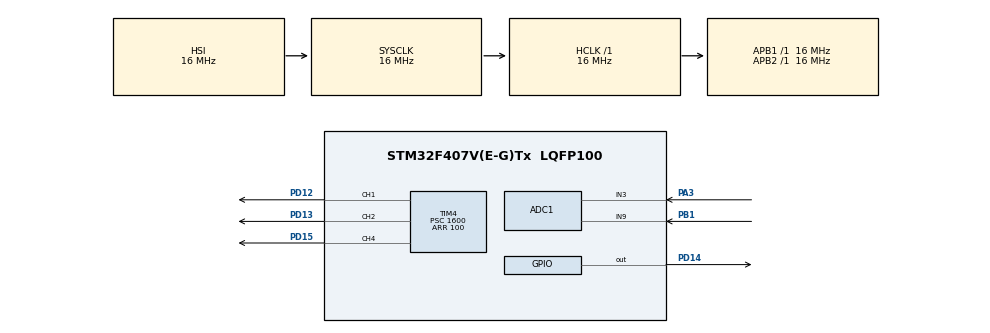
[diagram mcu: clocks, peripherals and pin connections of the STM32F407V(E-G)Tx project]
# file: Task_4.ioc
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ADC1.Channel-0\#ChannelRegularConversion=ADC_CHANNEL_3
ADC1.Channel-1\#ChannelRegularConversion=ADC_CHANNEL_9
ADC1.Channel-2\#ChannelRegularConversion=ADC_CHANNEL_TEMPSENSOR
ADC1.ContinuousConvMode=DISABLE
ADC1.DMAContinuousRequests=ENABLE
ADC1.ExternalTrigConv=ADC_EXTERNALTRIGCONV_T8_TRGO
ADC1.NbrOfConversion=3
ADC1.NbrOfConversionFlag=1
ADC1.Rank-0\#ChannelRegularConversion=1
ADC1.Rank-1\#ChannelRegularConversion=2
ADC1.Rank-2\#ChannelRegularConversion=3
ADC1.SamplingTime-0\#ChannelRegularConversion=ADC_SAMPLETIME_480CYCLES
ADC1.SamplingTime-1\#ChannelRegularConversion=ADC_SAMPLETIME_480CYCLES
ADC1.SamplingTime-2\#ChannelRegularConversion=ADC_SAMPLETIME_480CYCLES
ADC1.master=1
Dma.ADC1.0.Direction=DMA_PERIPH_TO_MEMORY
Dma.ADC1.0.FIFOMode=DMA_FIFOMODE_DISABLE
Dma.ADC1.0.Instance=DMA2_Stream0
Dma.ADC1.0.MemDataAlignment=DMA_MDATAALIGN_HALFWORD
Dma.ADC1.0.MemInc=DMA_MINC_ENABLE
Dma.ADC1.0.Mode=DMA_CIRCULAR
Dma.ADC1.0.PeriphDataAlignment=DMA_PDATAALIGN_HALFWORD
Dma.ADC1.0.PeriphInc=DMA_PINC_DISABLE
Dma.ADC1.0.Priority=DMA_PRIORITY_LOW
Dma.Request0=ADC1
Mcu.Family=STM32F4
Mcu.Name=STM32F407V(E-G)Tx
Mcu.Package=LQFP100
NVIC.DMA2_Stream0_IRQn=true\:0\:0\:false\:false\:true\:false\:true
NVIC.PriorityGroup=NVIC_PRIORITYGROUP_4
NVIC.TIM8_TRG_COM_TIM14_IRQn=true\:0\:0\:false\:false\:true\:true\:true
PA3.Signal=ADCx_IN3
PB1.Signal=ADCx_IN9
PD12.Signal=S_TIM4_CH1
PD13.Signal=S_TIM4_CH2
PD14.Signal=GPIO_Output
PD15.Signal=S_TIM4_CH4
PH0-OSC_IN.Mode=HSE-External-Oscillator
PH0-OSC_IN.Signal=RCC_OSC_IN
PH1-OSC_OUT.Mode=HSE-External-Oscillator
PH1-OSC_OUT.Signal=RCC_OSC_OUT
ProjectManager.HeapSize=0x200
ProjectManager.StackSize=0x400
ProjectManager.TargetToolchain=STM32CubeIDE
RCC.AHBFreq_Value=16000000
RCC.APB1Freq_Value=16000000
RCC.APB2Freq_Value=16000000
RCC.CortexFreq_Value=16000000
RCC.HSE_VALUE=25000000
RCC.HSI_VALUE=16000000
RCC.LSE_VALUE=32768
RCC.SYSCLKFreq_VALUE=16000000
RCC.VCOOutputFreq_Value=192000000
SH.ADCx_IN3.0=ADC1_IN3,IN3
SH.ADCx_IN9.0=ADC1_IN9,IN9
SH.S_TIM4_CH1.0=TIM4_CH1,PWM Generation1 CH1
SH.S_TIM4_CH2.0=TIM4_CH2,PWM Generation2 CH2
SH.S_TIM4_CH4.0=TIM4_CH4,PWM Generation4 CH4
TIM14.AutoReloadPreload=TIM_AUTORELOAD_PRELOAD_ENABLE
TIM14.Period=1000
TIM14.Prescaler=16000
TIM4.AutoReloadPreload=TIM_AUTORELOAD_PRELOAD_ENABLE
TIM4.Channel-PWM\ Generation1\ CH1=TIM_CHANNEL_1
TIM4.Channel-PWM\ Generation2\ CH2=TIM_CHANNEL_2
TIM4.Channel-PWM\ Generation4\ CH4=TIM_CHANNEL_4
TIM4.Period=100
TIM4.Prescaler=1600
TIM8.Period=1000
TIM8.Prescaler=160
TIM8.TIM_MasterOutputTrigger=TIM_TRGO_UPDATE
VP_ADC1_TempSens_Input.Mode=IN-TempSens
VP_TIM14_VS_ClockSourceINT.Mode=Enable_Timer
VP_TIM4_VS_ClockSourceINT.Mode=Internal
VP_TIM8_VS_ClockSourceINT.Mode=Internal
board=custom

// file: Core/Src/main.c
/* USER CODE BEGIN Header */
/**
  ******************************************************************************
  * @file           : main.c
  * @brief          : Main program body
  ******************************************************************************
  * @attention
  *
  * <h2><center>&copy; Copyright (c) 2021 STMicroelectronics.
  * All rights reserved.</center></h2>
  *
  * This software component is licensed by ST under BSD 3-Clause license,
  * the "License"; You may not use this file except in compliance with the
  * License. You may obtain a copy of the License at:
  *                        opensource.org/licenses/BSD-3-Clause
  *
  ******************************************************************************
  */
/* USER CODE END Header */
#include "main.h"

/* USER CODE BEGIN PTD */
typedef enum warningState
{
	FADE_OUT = 0,
	ROUND_HOUSE ,
	FAST_PACE,
	COCKED_PISTOL

} warningState;

/* USER CODE END PTD */

/* USER CODE BEGIN PD */

#define BRD_VOLTAGE 3000 // 3000mV
#define ADC_AVERAGE 16
#define ADC_BUF_SIZE 32
#define NUMBER_OF_CHANNELS 3 // internal sensor, external sensor, potentiometer

#define POTENTIOMETER_MIN_VALUE 0
#define POTENTIOMETER_MAX_VALUE 3000 // 3000mV
#define TEMPERATURE_MIN_VALUE 220 // 22.0C
#define TEMPERATURE_MAX_VALUE 500 // 50.0C

#define POTENTIOMETER_LIMIT 2000 // 2000mW
#define TEMPERATURE_LIMIT 366 // 36.6C

#define PROPORTIONAL_PWM_PERIOD(a,b,c) ((((a) - (b))*100) / ((c) - (b)))
#define PWM_LIMIT(a) (((a) < (0) ? (0) : ((a) > (100) ? (100) : (a))))

/* USER CODE END PD */

ADC_HandleTypeDef hadc1;
DMA_HandleTypeDef hdma_adc1;

TIM_HandleTypeDef htim4;
TIM_HandleTypeDef htim8;
TIM_HandleTypeDef htim14;

/* USER CODE BEGIN PV */

uint8_t potAlarmFlag = 0;
uint8_t extSensorAlarmFlag = 0;
uint8_t intSensorAlarmFlag = 0;
uint32_t sensValues[ADC_BUF_SIZE][NUMBER_OF_CHANNELS]; // adc measurements
int32_t potentiometerVolt = 0;  // final potentiometer voltage
int32_t externalSensorTemp = 0; // final external sensor voltage
int32_t internalSensorTemp = 0; // final internal sensor voltage

/* USER CODE END PV */

void SystemClock_Config(void);
static void MX_GPIO_Init(void);
static void MX_DMA_Init(void);
static void MX_ADC1_Init(void);
static void MX_TIM8_Init(void);
static void MX_TIM4_Init(void);
static void MX_TIM14_Init(void);
/* USER CODE BEGIN PFP */
static void AlarmLedStateUpdate(warningState state);
static void chkWrnLimits(void);
static void LedIntensityUpdate(void);

/* USER CODE END PFP */

/* USER CODE BEGIN 0 */

void HAL_TIM_PeriodElapsedCallback(TIM_HandleTypeDef *htim)
{
	if (htim == &htim14)
	{
		warningState state = potAlarmFlag + extSensorAlarmFlag + intSensorAlarmFlag;

		if (state == ROUND_HOUSE)
			TIM14->ARR = 500;
		else if (state == FAST_PACE)
			TIM14->ARR = 200;
		else if (state == COCKED_PISTOL)
			TIM14->ARR = 100;

		AlarmLedStateUpdate(state); // turn on led blink to alarm about count of warnings
	}
}

void HAL_ADC_ConvCpltCallback(ADC_HandleTypeDef* hadc)
{

	uint16_t *sensBuffer = (uint16_t*)sensValues;
	int32_t averagedVoltages[NUMBER_OF_CHANNELS] ;

	for (uint8_t i = 0; i < sizeof(averagedVoltages)/sizeof(averagedVoltages[0]); i++)
	{
		averagedVoltages[i] = 0;
	}

	for (uint8_t i = 0; i < ADC_AVERAGE; i++)
	{
		for (uint8_t j = 0; j < NUMBER_OF_CHANNELS; j++){
			averagedVoltages[j] += *sensBuffer++;
		}
	}

	for (int i = 0; i < NUMBER_OF_CHANNELS; i++)
	{
		 averagedVoltages[i] = (averagedVoltages[i] * BRD_VOLTAGE / ADC_AVERAGE) / 4096;
	}

	potentiometerVolt  =  averagedVoltages[0];
	externalSensorTemp = (-averagedVoltages[1] * 100) / 200 + 990 ;
	internalSensorTemp = ((averagedVoltages[2] - 760) * 100  / 25) + 250;

	chkWrnLimits(); // count number of warnings
	LedIntensityUpdate(); // set PWM period on each LED

}

void chkWrnLimits(void)
{

	if(potentiometerVolt > POTENTIOMETER_LIMIT)
		potAlarmFlag = ROUND_HOUSE;
	else
		potAlarmFlag = FADE_OUT;
	if(externalSensorTemp > TEMPERATURE_LIMIT)
		extSensorAlarmFlag = ROUND_HOUSE;
	else
		extSensorAlarmFlag = FADE_OUT;
	if(internalSensorTemp > TEMPERATURE_LIMIT)
		intSensorAlarmFlag = ROUND_HOUSE;
	else
		intSensorAlarmFlag =FADE_OUT;
	return;

}

void LedIntensityUpdate(void)
{
	int32_t pulseLength;

	pulseLength = PROPORTIONAL_PWM_PERIOD(potentiometerVolt, POTENTIOMETER_MIN_VALUE, POTENTIOMETER_MAX_VALUE);
	TIM4->CCR4 = PWM_LIMIT(pulseLength);

	pulseLength = PROPORTIONAL_PWM_PERIOD(externalSensorTemp, TEMPERATURE_MIN_VALUE, TEMPERATURE_MAX_VALUE);
	TIM4->CCR1 = PWM_LIMIT(pulseLength);

	pulseLength = PROPORTIONAL_PWM_PERIOD(internalSensorTemp, TEMPERATURE_MIN_VALUE, TEMPERATURE_MAX_VALUE);
	TIM4->CCR2 = PWM_LIMIT(pulseLength);
	return;

}

void AlarmLedStateUpdate(warningState state)
{
	if(state == FADE_OUT)
	{
		HAL_GPIO_WritePin(GPIOD, GPIO_PIN_14, GPIO_PIN_RESET);
	}

	else if(state == ROUND_HOUSE)
	{
		HAL_GPIO_TogglePin(GPIOD, GPIO_PIN_14);
	}

	else if (state == FAST_PACE)
	{
		HAL_GPIO_TogglePin(GPIOD, GPIO_PIN_14);

	}
	else if (state == COCKED_PISTOL)
	{
		HAL_GPIO_TogglePin(GPIOD, GPIO_PIN_14);

	}
}
/* USER CODE END 0 */

int main(void)
{

  /* MCU Configuration--------------------------------------------------------*/

  /* Reset of all peripherals, Initializes the Flash interface and the Systick. */
  HAL_Init();

  /* Configure the system clock */
  SystemClock_Config();

  /* Initialize all configured peripherals */
  MX_GPIO_Init();
  MX_DMA_Init();
  MX_ADC1_Init();
  MX_TIM8_Init();
  MX_TIM4_Init();
  MX_TIM14_Init();
  /* USER CODE BEGIN 2 */
  HAL_ADC_Start_DMA(&hadc1, *sensValues, NUMBER_OF_CHANNELS*ADC_BUF_SIZE);
  HAL_TIM_PWM_Start(&htim4, TIM_CHANNEL_1);
  HAL_TIM_PWM_Start(&htim4, TIM_CHANNEL_2);
  HAL_TIM_PWM_Start(&htim4, TIM_CHANNEL_4);
  HAL_TIM_Base_Start(&htim8);
  HAL_TIM_Base_Start_IT(&htim14);

  /* USER CODE END 2 */

  /* Infinite loop */
  while (1)
  {

  }
}

void SystemClock_Config(void)
{
  RCC_OscInitTypeDef RCC_OscInitStruct = {0};
  RCC_ClkInitTypeDef RCC_ClkInitStruct = {0};

  /** Configure the main internal regulator output voltage
  */
  __HAL_RCC_PWR_CLK_ENABLE();
  __HAL_PWR_VOLTAGESCALING_CONFIG(PWR_REGULATOR_VOLTAGE_SCALE1);
  /** Initializes the RCC Oscillators according to the specified parameters
  * in the RCC_OscInitTypeDef structure.
  */
  RCC_OscInitStruct.OscillatorType = RCC_OSCILLATORTYPE_HSI;
  RCC_OscInitStruct.HSIState = RCC_HSI_ON;
  RCC_OscInitStruct.HSICalibrationValue = RCC_HSICALIBRATION_DEFAULT;
  RCC_OscInitStruct.PLL.PLLState = RCC_PLL_NONE;
  if (HAL_RCC_OscConfig(&RCC_OscInitStruct) != HAL_OK)
  {
    Error_Handler();
  }
  /** Initializes the CPU, AHB and APB buses clocks
  */
  RCC_ClkInitStruct.ClockType = RCC_CLOCKTYPE_HCLK|RCC_CLOCKTYPE_SYSCLK
                              |RCC_CLOCKTYPE_PCLK1|RCC_CLOCKTYPE_PCLK2;
  RCC_ClkInitStruct.SYSCLKSource = RCC_SYSCLKSOURCE_HSI;
  RCC_ClkInitStruct.AHBCLKDivider = RCC_SYSCLK_DIV1;
  RCC_ClkInitStruct.APB1CLKDivider = RCC_HCLK_DIV1;
  RCC_ClkInitStruct.APB2CLKDivider = RCC_HCLK_DIV1;

  if (HAL_RCC_ClockConfig(&RCC_ClkInitStruct, FLASH_LATENCY_0) != HAL_OK)
  {
    Error_Handler();
  }
}

static void MX_ADC1_Init(void)
{

  ADC_ChannelConfTypeDef sConfig = {0};

  /** Configure the global features of the ADC (Clock, Resolution, Data Alignment and number of conversion)
  */
  hadc1.Instance = ADC1;
  hadc1.Init.ClockPrescaler = ADC_CLOCK_SYNC_PCLK_DIV2;
  hadc1.Init.Resolution = ADC_RESOLUTION_12B;
  hadc1.Init.ScanConvMode = ENABLE;
  hadc1.Init.ContinuousConvMode = DISABLE;
  hadc1.Init.DiscontinuousConvMode = DISABLE;
  hadc1.Init.ExternalTrigConvEdge = ADC_EXTERNALTRIGCONVEDGE_RISING;
  hadc1.Init.ExternalTrigConv = ADC_EXTERNALTRIGCONV_T8_TRGO;
  hadc1.Init.DataAlign = ADC_DATAALIGN_RIGHT;
  hadc1.Init.NbrOfConversion = 3;
  hadc1.Init.DMAContinuousRequests = ENABLE;
  hadc1.Init.EOCSelection = ADC_EOC_SINGLE_CONV;
  if (HAL_ADC_Init(&hadc1) != HAL_OK)
  {
    Error_Handler();
  }
  /** Configure for the selected ADC regular channel its corresponding rank in the sequencer and its sample time.
  */
  sConfig.Channel = ADC_CHANNEL_3;
  sConfig.Rank = 1;
  sConfig.SamplingTime = ADC_SAMPLETIME_480CYCLES;
  if (HAL_ADC_ConfigChannel(&hadc1, &sConfig) != HAL_OK)
  {
    Error_Handler();
  }
  /** Configure for the selected ADC regular channel its corresponding rank in the sequencer and its sample time.
  */
  sConfig.Channel = ADC_CHANNEL_9;
  sConfig.Rank = 2;
  if (HAL_ADC_ConfigChannel(&hadc1, &sConfig) != HAL_OK)
  {
    Error_Handler();
  }
  /** Configure for the selected ADC regular channel its corresponding rank in the sequencer and its sample time.
  */
  sConfig.Channel = ADC_CHANNEL_TEMPSENSOR;
  sConfig.Rank = 3;
  if (HAL_ADC_ConfigChannel(&hadc1, &sConfig) != HAL_OK)
  {
    Error_Handler();
  }

}

static void MX_TIM4_Init(void)
{

  TIM_ClockConfigTypeDef sClockSourceConfig = {0};
  TIM_MasterConfigTypeDef sMasterConfig = {0};
  TIM_OC_InitTypeDef sConfigOC = {0};

  htim4.Instance = TIM4;
  htim4.Init.Prescaler = 1600;
  htim4.Init.CounterMode = TIM_COUNTERMODE_UP;
  htim4.Init.Period = 100;
  htim4.Init.ClockDivision = TIM_CLOCKDIVISION_DIV1;
  htim4.Init.AutoReloadPreload = TIM_AUTORELOAD_PRELOAD_ENABLE;
  if (HAL_TIM_Base_Init(&htim4) != HAL_OK)
  {
    Error_Handler();
  }
  sClockSourceConfig.ClockSource = TIM_CLOCKSOURCE_INTERNAL;
  if (HAL_TIM_ConfigClockSource(&htim4, &sClockSourceConfig) != HAL_OK)
  {
    Error_Handler();
  }
  if (HAL_TIM_PWM_Init(&htim4) != HAL_OK)
  {
    Error_Handler();
  }
  sMasterConfig.MasterOutputTrigger = TIM_TRGO_RESET;
  sMasterConfig.MasterSlaveMode = TIM_MASTERSLAVEMODE_DISABLE;
  if (HAL_TIMEx_MasterConfigSynchronization(&htim4, &sMasterConfig) != HAL_OK)
  {
    Error_Handler();
  }
  sConfigOC.OCMode = TIM_OCMODE_PWM1;
  sConfigOC.Pulse = 0;
  sConfigOC.OCPolarity = TIM_OCPOLARITY_HIGH;
  sConfigOC.OCFastMode = TIM_OCFAST_DISABLE;
  if (HAL_TIM_PWM_ConfigChannel(&htim4, &sConfigOC, TIM_CHANNEL_1) != HAL_OK)
  {
    Error_Handler();
  }
  if (HAL_TIM_PWM_ConfigChannel(&htim4, &sConfigOC, TIM_CHANNEL_2) != HAL_OK)
  {
    Error_Handler();
  }
  if (HAL_TIM_PWM_ConfigChannel(&htim4, &sConfigOC, TIM_CHANNEL_4) != HAL_OK)
  {
    Error_Handler();
  }
  HAL_TIM_MspPostInit(&htim4);

}

static void MX_TIM8_Init(void)
{

  TIM_ClockConfigTypeDef sClockSourceConfig = {0};
  TIM_MasterConfigTypeDef sMasterConfig = {0};

  htim8.Instance = TIM8;
  htim8.Init.Prescaler = 160;
  htim8.Init.CounterMode = TIM_COUNTERMODE_UP;
  htim8.Init.Period = 1000;
  htim8.Init.ClockDivision = TIM_CLOCKDIVISION_DIV1;
  htim8.Init.RepetitionCounter = 0;
  htim8.Init.AutoReloadPreload = TIM_AUTORELOAD_PRELOAD_DISABLE;
  if (HAL_TIM_Base_Init(&htim8) != HAL_OK)
  {
    Error_Handler();
  }
  sClockSourceConfig.ClockSource = TIM_CLOCKSOURCE_INTERNAL;
  if (HAL_TIM_ConfigClockSource(&htim8, &sClockSourceConfig) != HAL_OK)
  {
    Error_Handler();
  }
  sMasterConfig.MasterOutputTrigger = TIM_TRGO_UPDATE;
  sMasterConfig.MasterSlaveMode = TIM_MASTERSLAVEMODE_DISABLE;
  if (HAL_TIMEx_MasterConfigSynchronization(&htim8, &sMasterConfig) != HAL_OK)
  {
    Error_Handler();
  }

}

static void MX_TIM14_Init(void)
{

  htim14.Instance = TIM14;
  htim14.Init.Prescaler = 16000;
  htim14.Init.CounterMode = TIM_COUNTERMODE_UP;
  htim14.Init.Period = 1000;
  htim14.Init.ClockDivision = TIM_CLOCKDIVISION_DIV1;
  htim14.Init.AutoReloadPreload = TIM_AUTORELOAD_PRELOAD_ENABLE;
  if (HAL_TIM_Base_Init(&htim14) != HAL_OK)
  {
    Error_Handler();
  }

}

static void MX_DMA_Init(void)
{

  /* DMA controller clock enable */
  __HAL_RCC_DMA2_CLK_ENABLE();

  /* DMA interrupt init */
  /* DMA2_Stream0_IRQn interrupt configuration */
  HAL_NVIC_SetPriority(DMA2_Stream0_IRQn, 0, 0);
  HAL_NVIC_EnableIRQ(DMA2_Stream0_IRQn);

}

static void MX_GPIO_Init(void)
{
  GPIO_InitTypeDef GPIO_InitStruct = {0};

  /* GPIO Ports Clock Enable */
  __HAL_RCC_GPIOH_CLK_ENABLE();
  __HAL_RCC_GPIOA_CLK_ENABLE();
  __HAL_RCC_GPIOB_CLK_ENABLE();
  __HAL_RCC_GPIOD_CLK_ENABLE();

  /*Configure GPIO pin Output Level */
  HAL_GPIO_WritePin(GPIOD, GPIO_PIN_14, GPIO_PIN_RESET);

  /*Configure GPIO pin : PD14 */
  GPIO_InitStruct.Pin = GPIO_PIN_14;
  GPIO_InitStruct.Mode = GPIO_MODE_OUTPUT_PP;
  GPIO_InitStruct.Pull = GPIO_NOPULL;
  GPIO_InitStruct.Speed = GPIO_SPEED_FREQ_LOW;
  HAL_GPIO_Init(GPIOD, &GPIO_InitStruct);

}

void Error_Handler(void)
{
  __disable_irq();
  while (1)
  {
  }
}

/************************ (C) COPYRIGHT STMicroelectronics *****END OF FILE****/
